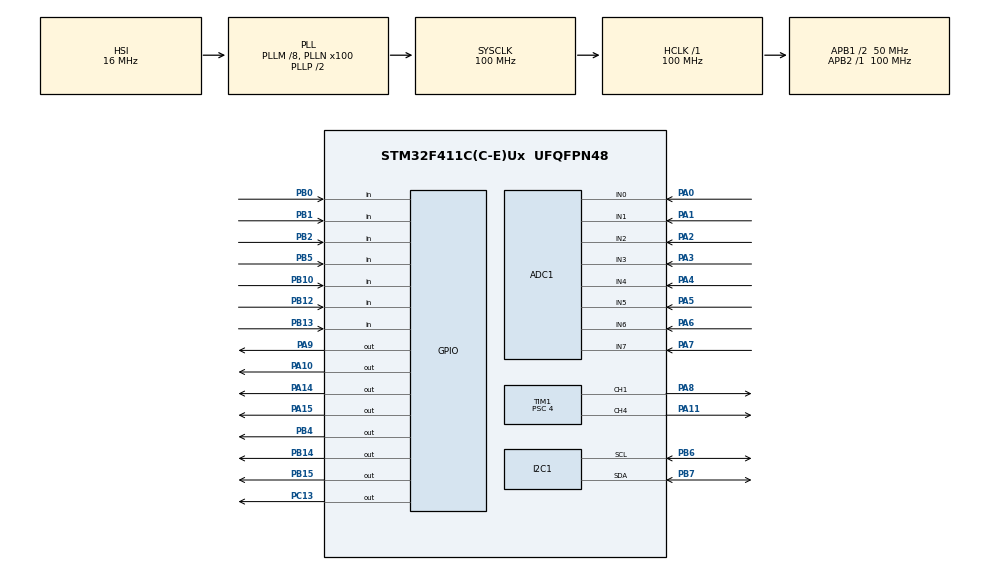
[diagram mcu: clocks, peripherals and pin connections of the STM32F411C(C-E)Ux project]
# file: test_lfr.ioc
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ADC1.Channel-24\#ChannelRegularConversion=ADC_CHANNEL_0
ADC1.Channel-25\#ChannelRegularConversion=ADC_CHANNEL_1
ADC1.Channel-26\#ChannelRegularConversion=ADC_CHANNEL_2
ADC1.Channel-27\#ChannelRegularConversion=ADC_CHANNEL_3
ADC1.Channel-28\#ChannelRegularConversion=ADC_CHANNEL_4
ADC1.Channel-29\#ChannelRegularConversion=ADC_CHANNEL_5
ADC1.Channel-30\#ChannelRegularConversion=ADC_CHANNEL_6
ADC1.Channel-31\#ChannelRegularConversion=ADC_CHANNEL_7
ADC1.Channel-32\#ChannelRegularConversion=ADC_CHANNEL_VBAT
ADC1.ContinuousConvMode=ENABLE
ADC1.DMAContinuousRequests=ENABLE
ADC1.EOCSelection=ADC_EOC_SEQ_CONV
ADC1.NbrOfConversion=9
ADC1.NbrOfConversionFlag=1
ADC1.Rank-24\#ChannelRegularConversion=1
ADC1.Rank-25\#ChannelRegularConversion=2
ADC1.Rank-26\#ChannelRegularConversion=3
ADC1.Rank-27\#ChannelRegularConversion=4
ADC1.Rank-28\#ChannelRegularConversion=5
ADC1.Rank-29\#ChannelRegularConversion=6
ADC1.Rank-30\#ChannelRegularConversion=7
ADC1.Rank-31\#ChannelRegularConversion=8
ADC1.Rank-32\#ChannelRegularConversion=9
ADC1.SamplingTime-24\#ChannelRegularConversion=ADC_SAMPLETIME_3CYCLES
ADC1.SamplingTime-25\#ChannelRegularConversion=ADC_SAMPLETIME_3CYCLES
ADC1.SamplingTime-26\#ChannelRegularConversion=ADC_SAMPLETIME_3CYCLES
ADC1.SamplingTime-27\#ChannelRegularConversion=ADC_SAMPLETIME_3CYCLES
ADC1.SamplingTime-28\#ChannelRegularConversion=ADC_SAMPLETIME_3CYCLES
ADC1.SamplingTime-29\#ChannelRegularConversion=ADC_SAMPLETIME_3CYCLES
ADC1.SamplingTime-30\#ChannelRegularConversion=ADC_SAMPLETIME_3CYCLES
ADC1.SamplingTime-31\#ChannelRegularConversion=ADC_SAMPLETIME_3CYCLES
ADC1.SamplingTime-32\#ChannelRegularConversion=ADC_SAMPLETIME_3CYCLES
ADC1.ScanConvMode=ENABLE
ADC1.master=1
Dma.ADC1.0.Direction=DMA_PERIPH_TO_MEMORY
Dma.ADC1.0.FIFOMode=DMA_FIFOMODE_DISABLE
Dma.ADC1.0.Instance=DMA2_Stream0
Dma.ADC1.0.MemDataAlignment=DMA_MDATAALIGN_HALFWORD
Dma.ADC1.0.MemInc=DMA_MINC_ENABLE
Dma.ADC1.0.Mode=DMA_CIRCULAR
Dma.ADC1.0.PeriphDataAlignment=DMA_PDATAALIGN_HALFWORD
Dma.ADC1.0.PeriphInc=DMA_PINC_DISABLE
Dma.ADC1.0.Priority=DMA_PRIORITY_LOW
Dma.Request0=ADC1
Mcu.Family=STM32F4
Mcu.Name=STM32F411C(C-E)Ux
Mcu.Package=UFQFPN48
NVIC.DMA2_Stream0_IRQn=true\:0\:0\:false\:false\:true\:false\:true\:true
NVIC.PriorityGroup=NVIC_PRIORITYGROUP_4
PA0-WKUP.Signal=SharedAnalog_PA0
PA1.Signal=SharedAnalog_PA1
PA10.Signal=GPIO_Output
PA11.Signal=S_TIM1_CH4
PA14.Signal=GPIO_Output
PA15.Signal=GPIO_Output
PA2.Signal=SharedAnalog_PA2
PA3.Signal=SharedAnalog_PA3
PA4.Signal=SharedAnalog_PA4
PA5.Signal=SharedAnalog_PA5
PA6.Signal=SharedAnalog_PA6
PA7.Signal=SharedAnalog_PA7
PA8.Signal=S_TIM1_CH1
PA9.Signal=GPIO_Output
PB0.Signal=GPIO_Input
PB1.Signal=GPIO_Input
PB10.Signal=GPIO_Input
PB12.Signal=GPIO_Input
PB13.Signal=GPIO_Input
PB14.Signal=GPIO_Output
PB15.Signal=GPIO_Output
PB2.Signal=GPIO_Input
PB4.Signal=GPIO_Output
PB5.Signal=GPIO_Input
PB6.Mode=I2C
PB6.Signal=I2C1_SCL
PB7.Mode=I2C
PB7.Signal=I2C1_SDA
PC13-ANTI_TAMP.Signal=GPIO_Output
ProjectManager.HeapSize=0x200
ProjectManager.StackSize=0x400
ProjectManager.TargetToolchain=STM32CubeIDE
RCC.48MHZClocksFreq_Value=50000000
RCC.AHBFreq_Value=100000000
RCC.APB1CLKDivider=RCC_HCLK_DIV2
RCC.APB1Freq_Value=50000000
RCC.APB1TimFreq_Value=100000000
RCC.APB2Freq_Value=100000000
RCC.APB2TimFreq_Value=100000000
RCC.CortexFreq_Value=100000000
RCC.HCLKFreq_Value=100000000
RCC.HSE_VALUE=25000000
RCC.HSI_VALUE=16000000
RCC.LSE_VALUE=32768
RCC.PLLM=8
RCC.PLLN=100
RCC.SYSCLKFreq_VALUE=100000000
RCC.SYSCLKSource=RCC_SYSCLKSOURCE_PLLCLK
RCC.VCOOutputFreq_Value=200000000
SH.S_TIM1_CH1.0=TIM1_CH1,PWM Generation1 CH1
SH.S_TIM1_CH4.0=TIM1_CH4,PWM Generation4 CH4
SH.SharedAnalog_PA0.0=GPIO_Analog
SH.SharedAnalog_PA0.1=ADC1_IN0,IN0
SH.SharedAnalog_PA1.0=GPIO_Analog
SH.SharedAnalog_PA1.1=ADC1_IN1,IN1
SH.SharedAnalog_PA2.0=GPIO_Analog
SH.SharedAnalog_PA2.1=ADC1_IN2,IN2
SH.SharedAnalog_PA3.0=GPIO_Analog
SH.SharedAnalog_PA3.1=ADC1_IN3,IN3
SH.SharedAnalog_PA4.0=GPIO_Analog
SH.SharedAnalog_PA4.1=ADC1_IN4,IN4
SH.SharedAnalog_PA5.0=GPIO_Analog
SH.SharedAnalog_PA5.1=ADC1_IN5,IN5
SH.SharedAnalog_PA6.0=GPIO_Analog
SH.SharedAnalog_PA6.1=ADC1_IN6,IN6
SH.SharedAnalog_PA7.0=GPIO_Analog
SH.SharedAnalog_PA7.1=ADC1_IN7,IN7
TIM1.Channel-PWM\ Generation1\ CH1=TIM_CHANNEL_1
TIM1.Channel-PWM\ Generation4\ CH4=TIM_CHANNEL_4
TIM1.Period=1000
TIM1.Prescaler=4
VP_ADC1_Vbat_Input.Mode=IN-Vbat
VP_TIM1_VS_ClockSourceINT.Mode=Internal
VP_TIM1_VS_ClockSourceITR.Mode=TriggerSource_ITR0
board=custom

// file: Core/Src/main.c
/* USER CODE BEGIN Header */
/**
  ******************************************************************************
  * @file           : main.c
  * @brief          : Main program body
  ******************************************************************************
  * @attention
  *
  * Copyright (c) 2026 STMicroelectronics.
  * All rights reserved.
  *
  * This software is licensed under terms that can be found in the LICENSE file
  * in the root directory of this software component.
  * If no LICENSE file comes with this software, it is provided AS-IS.
  *
  ******************************************************************************
  */
/* USER CODE END Header */
#include "main.h"

/* USER CODE BEGIN Includes */
#include "mpu6050.h"
#include "math.h"
#include "motor.h"
#include "stm32f411xe.h"
#include "stm32f4xx_hal.h"
#include "stm32f4xx_hal_adc.h"
#include "stm32f4xx_hal_gpio.h"
#include "ssd1306.h"
#include <stdio.h>
#include "ssd1306_fonts.h"
/* USER CODE END Includes */

ADC_HandleTypeDef hadc1;
DMA_HandleTypeDef hdma_adc1;

I2C_HandleTypeDef hi2c1;

TIM_HandleTypeDef htim1;

/* USER CODE BEGIN PV */
volatile uint16_t sensor_val_batt[9];
uint32_t last_display_update = 0;
  float dummy_battery = 7.4f;
  int32_t current_speed = 500;
/* USER CODE END PV */

void SystemClock_Config(void);
static void MX_GPIO_Init(void);
static void MX_DMA_Init(void);
static void MX_ADC1_Init(void);
static void MX_I2C1_Init(void);
static void MX_TIM1_Init(void);

  void test_sensor(void );
int main(void)
{

  /* MCU Configuration--------------------------------------------------------*/

  /* Reset of all peripherals, Initializes the Flash interface and the Systick. */
  HAL_Init();

  /* Configure the system clock */
  SystemClock_Config();

  /* Initialize all configured peripherals */
  MX_GPIO_Init();
  MX_DMA_Init();
  MX_ADC1_Init();
  MX_I2C1_Init();
  MX_TIM1_Init();
  /* USER CODE BEGIN 2 */
  HAL_GPIO_WritePin(GPIOA, GPIO_PIN_15, GPIO_PIN_RESET);
  HAL_GPIO_WritePin(GPIOB, GPIO_PIN_4, GPIO_PIN_RESET);
  motor_pin_set(&htim1);
  MPU6050_Init();
  ssd1306_Init();
  HAL_ADC_Start_DMA(&hadc1, (void *)sensor_val_batt, 9);
  /* USER CODE END 2 */

  /* Infinite loop */
  /* USER CODE BEGIN WHILE */
  while (1)
  {
   test_sensor();
    /* USER CODE END WHILE */

  }
}

void test_sensor(void ){
  char buf[32]; // Buffer to hold our formatted text
  char wing_buf[32]; // Buffer for the 6 wing sensors

      // 1. Wipe the previous frame
      ssd1306_Fill(Black);

      // 2. Draw a Header
      ssd1306_SetCursor(2, 2);
      ssd1306_WriteString("SENSOR DEBUG", Font_7x10, White);
      ssd1306_Line(0, 13, 128, 13, White); // Underline

      // 3. Draw Left Sensors (S1 to S4)
      for(int i = 0; i < 4; i++) {
          ssd1306_SetCursor(2, 17 + (i * 9)); // Tightened spacing to 9 pixels apart

          // %d is the sensor number, %4d forces the value to take up exactly 4 spaces
          // so the text doesn't jitter left and right when numbers change size
          sprintf(buf, "S%d: %4d", i + 1, sensor_val_batt[i]);
          ssd1306_WriteString(buf, Font_6x8, White);
      }

      // 4. Draw Right Sensors (S5 to S8)
      for(int i = 4; i < 8; i++) {
          // X cursor is at 66 to put these on the right half of the screen
          ssd1306_SetCursor(66, 17 + ((i - 4) * 9)); // Tightened spacing to 9 pixels apart

          sprintf(buf, "S%d: %4d", i + 1, sensor_val_batt[i]);
          ssd1306_WriteString(buf, Font_6x8, White);
      }

      // 5. Read Wing Sensors (Digital Pins)
      // Left Wing: PB2, PB1, PB0
      uint8_t L3 = HAL_GPIO_ReadPin(GPIOB, GPIO_PIN_2);
      uint8_t L2 = HAL_GPIO_ReadPin(GPIOB, GPIO_PIN_1);
      uint8_t L1 = HAL_GPIO_ReadPin(GPIOB, GPIO_PIN_0);

      // Right Wing: PB10, PB12, PB13
      uint8_t R1 = HAL_GPIO_ReadPin(GPIOB, GPIO_PIN_10);
      uint8_t R2 = HAL_GPIO_ReadPin(GPIOB, GPIO_PIN_12);
      uint8_t R3 = HAL_GPIO_ReadPin(GPIOB, GPIO_PIN_13);

      // Format as "WNG L:111 R:111"
      sprintf(wing_buf, "WNG L:%d%d%d R:%d%d%d", L3, L2, L1, R1, R2, R3);

      // 6. Draw Wing Sensors at the bottom of the screen
      ssd1306_SetCursor(2, 54); // Y=54 places this perfectly on the bottom edge
      ssd1306_WriteString(wing_buf, Font_6x8, White);

      // 7. Push the graphics to the screen
      ssd1306_UpdateScreen();

      HAL_Delay(100);
    }
void SystemClock_Config(void)
{
  RCC_OscInitTypeDef RCC_OscInitStruct = {0};
  RCC_ClkInitTypeDef RCC_ClkInitStruct = {0};

  /** Configure the main internal regulator output voltage
  */
  __HAL_RCC_PWR_CLK_ENABLE();
  __HAL_PWR_VOLTAGESCALING_CONFIG(PWR_REGULATOR_VOLTAGE_SCALE1);

  /** Initializes the RCC Oscillators according to the specified parameters
  * in the RCC_OscInitTypeDef structure.
  */
  RCC_OscInitStruct.OscillatorType = RCC_OSCILLATORTYPE_HSI;
  RCC_OscInitStruct.HSIState = RCC_HSI_ON;
  RCC_OscInitStruct.HSICalibrationValue = RCC_HSICALIBRATION_DEFAULT;
  RCC_OscInitStruct.PLL.PLLState = RCC_PLL_ON;
  RCC_OscInitStruct.PLL.PLLSource = RCC_PLLSOURCE_HSI;
  RCC_OscInitStruct.PLL.PLLM = 8;
  RCC_OscInitStruct.PLL.PLLN = 100;
  RCC_OscInitStruct.PLL.PLLP = RCC_PLLP_DIV2;
  RCC_OscInitStruct.PLL.PLLQ = 4;
  if (HAL_RCC_OscConfig(&RCC_OscInitStruct) != HAL_OK)
  {
    Error_Handler();
  }

  /** Initializes the CPU, AHB and APB buses clocks
  */
  RCC_ClkInitStruct.ClockType = RCC_CLOCKTYPE_HCLK|RCC_CLOCKTYPE_SYSCLK
                              |RCC_CLOCKTYPE_PCLK1|RCC_CLOCKTYPE_PCLK2;
  RCC_ClkInitStruct.SYSCLKSource = RCC_SYSCLKSOURCE_PLLCLK;
  RCC_ClkInitStruct.AHBCLKDivider = RCC_SYSCLK_DIV1;
  RCC_ClkInitStruct.APB1CLKDivider = RCC_HCLK_DIV2;
  RCC_ClkInitStruct.APB2CLKDivider = RCC_HCLK_DIV1;

  if (HAL_RCC_ClockConfig(&RCC_ClkInitStruct, FLASH_LATENCY_3) != HAL_OK)
  {
    Error_Handler();
  }
}

static void MX_ADC1_Init(void)
{

  ADC_ChannelConfTypeDef sConfig = {0};

  /** Configure the global features of the ADC (Clock, Resolution, Data Alignment and number of conversion)
  */
  hadc1.Instance = ADC1;
  hadc1.Init.ClockPrescaler = ADC_CLOCK_SYNC_PCLK_DIV4;
  hadc1.Init.Resolution = ADC_RESOLUTION_12B;
  hadc1.Init.ScanConvMode = ENABLE;
  hadc1.Init.ContinuousConvMode = ENABLE;
  hadc1.Init.DiscontinuousConvMode = DISABLE;
  hadc1.Init.ExternalTrigConvEdge = ADC_EXTERNALTRIGCONVEDGE_NONE;
  hadc1.Init.ExternalTrigConv = ADC_SOFTWARE_START;
  hadc1.Init.DataAlign = ADC_DATAALIGN_RIGHT;
  hadc1.Init.NbrOfConversion = 9;
  hadc1.Init.DMAContinuousRequests = ENABLE;
  hadc1.Init.EOCSelection = ADC_EOC_SEQ_CONV;
  if (HAL_ADC_Init(&hadc1) != HAL_OK)
  {
    Error_Handler();
  }

  /** Configure for the selected ADC regular channel its corresponding rank in the sequencer and its sample time.
  */
  sConfig.Channel = ADC_CHANNEL_0;
  sConfig.Rank = 1;
  sConfig.SamplingTime = ADC_SAMPLETIME_3CYCLES;
  if (HAL_ADC_ConfigChannel(&hadc1, &sConfig) != HAL_OK)
  {
    Error_Handler();
  }

  /** Configure for the selected ADC regular channel its corresponding rank in the sequencer and its sample time.
  */
  sConfig.Channel = ADC_CHANNEL_1;
  sConfig.Rank = 2;
  if (HAL_ADC_ConfigChannel(&hadc1, &sConfig) != HAL_OK)
  {
    Error_Handler();
  }

  /** Configure for the selected ADC regular channel its corresponding rank in the sequencer and its sample time.
  */
  sConfig.Channel = ADC_CHANNEL_2;
  sConfig.Rank = 3;
  if (HAL_ADC_ConfigChannel(&hadc1, &sConfig) != HAL_OK)
  {
    Error_Handler();
  }

  /** Configure for the selected ADC regular channel its corresponding rank in the sequencer and its sample time.
  */
  sConfig.Channel = ADC_CHANNEL_3;
  sConfig.Rank = 4;
  if (HAL_ADC_ConfigChannel(&hadc1, &sConfig) != HAL_OK)
  {
    Error_Handler();
  }

  /** Configure for the selected ADC regular channel its corresponding rank in the sequencer and its sample time.
  */
  sConfig.Channel = ADC_CHANNEL_4;
  sConfig.Rank = 5;
  if (HAL_ADC_ConfigChannel(&hadc1, &sConfig) != HAL_OK)
  {
    Error_Handler();
  }

  /** Configure for the selected ADC regular channel its corresponding rank in the sequencer and its sample time.
  */
  sConfig.Channel = ADC_CHANNEL_5;
  sConfig.Rank = 6;
  if (HAL_ADC_ConfigChannel(&hadc1, &sConfig) != HAL_OK)
  {
    Error_Handler();
  }

  /** Configure for the selected ADC regular channel its corresponding rank in the sequencer and its sample time.
  */
  sConfig.Channel = ADC_CHANNEL_6;
  sConfig.Rank = 7;
  if (HAL_ADC_ConfigChannel(&hadc1, &sConfig) != HAL_OK)
  {
    Error_Handler();
  }

  /** Configure for the selected ADC regular channel its corresponding rank in the sequencer and its sample time.
  */
  sConfig.Channel = ADC_CHANNEL_7;
  sConfig.Rank = 8;
  if (HAL_ADC_ConfigChannel(&hadc1, &sConfig) != HAL_OK)
  {
    Error_Handler();
  }

  /** Configure for the selected ADC regular channel its corresponding rank in the sequencer and its sample time.
  */
  sConfig.Channel = ADC_CHANNEL_VBAT;
  sConfig.Rank = 9;
  if (HAL_ADC_ConfigChannel(&hadc1, &sConfig) != HAL_OK)
  {
    Error_Handler();
  }

}

static void MX_I2C1_Init(void)
{

  hi2c1.Instance = I2C1;
  hi2c1.Init.ClockSpeed = 100000;
  hi2c1.Init.DutyCycle = I2C_DUTYCYCLE_2;
  hi2c1.Init.OwnAddress1 = 0;
  hi2c1.Init.AddressingMode = I2C_ADDRESSINGMODE_7BIT;
  hi2c1.Init.DualAddressMode = I2C_DUALADDRESS_DISABLE;
  hi2c1.Init.OwnAddress2 = 0;
  hi2c1.Init.GeneralCallMode = I2C_GENERALCALL_DISABLE;
  hi2c1.Init.NoStretchMode = I2C_NOSTRETCH_DISABLE;
  if (HAL_I2C_Init(&hi2c1) != HAL_OK)
  {
    Error_Handler();
  }

}

static void MX_TIM1_Init(void)
{

  TIM_ClockConfigTypeDef sClockSourceConfig = {0};
  TIM_SlaveConfigTypeDef sSlaveConfig = {0};
  TIM_MasterConfigTypeDef sMasterConfig = {0};
  TIM_OC_InitTypeDef sConfigOC = {0};
  TIM_BreakDeadTimeConfigTypeDef sBreakDeadTimeConfig = {0};

  htim1.Instance = TIM1;
  htim1.Init.Prescaler = 4;
  htim1.Init.CounterMode = TIM_COUNTERMODE_UP;
  htim1.Init.Period = 1000;
  htim1.Init.ClockDivision = TIM_CLOCKDIVISION_DIV1;
  htim1.Init.RepetitionCounter = 0;
  htim1.Init.AutoReloadPreload = TIM_AUTORELOAD_PRELOAD_DISABLE;
  if (HAL_TIM_Base_Init(&htim1) != HAL_OK)
  {
    Error_Handler();
  }
  sClockSourceConfig.ClockSource = TIM_CLOCKSOURCE_INTERNAL;
  if (HAL_TIM_ConfigClockSource(&htim1, &sClockSourceConfig) != HAL_OK)
  {
    Error_Handler();
  }
  if (HAL_TIM_PWM_Init(&htim1) != HAL_OK)
  {
    Error_Handler();
  }
  sSlaveConfig.SlaveMode = TIM_SLAVEMODE_DISABLE;
  sSlaveConfig.InputTrigger = TIM_TS_ITR0;
  if (HAL_TIM_SlaveConfigSynchro(&htim1, &sSlaveConfig) != HAL_OK)
  {
    Error_Handler();
  }
  sMasterConfig.MasterOutputTrigger = TIM_TRGO_RESET;
  sMasterConfig.MasterSlaveMode = TIM_MASTERSLAVEMODE_DISABLE;
  if (HAL_TIMEx_MasterConfigSynchronization(&htim1, &sMasterConfig) != HAL_OK)
  {
    Error_Handler();
  }
  sConfigOC.OCMode = TIM_OCMODE_PWM1;
  sConfigOC.Pulse = 0;
  sConfigOC.OCPolarity = TIM_OCPOLARITY_HIGH;
  sConfigOC.OCNPolarity = TIM_OCNPOLARITY_HIGH;
  sConfigOC.OCFastMode = TIM_OCFAST_DISABLE;
  sConfigOC.OCIdleState = TIM_OCIDLESTATE_RESET;
  sConfigOC.OCNIdleState = TIM_OCNIDLESTATE_RESET;
  if (HAL_TIM_PWM_ConfigChannel(&htim1, &sConfigOC, TIM_CHANNEL_1) != HAL_OK)
  {
    Error_Handler();
  }
  if (HAL_TIM_PWM_ConfigChannel(&htim1, &sConfigOC, TIM_CHANNEL_4) != HAL_OK)
  {
    Error_Handler();
  }
  sBreakDeadTimeConfig.OffStateRunMode = TIM_OSSR_DISABLE;
  sBreakDeadTimeConfig.OffStateIDLEMode = TIM_OSSI_DISABLE;
  sBreakDeadTimeConfig.LockLevel = TIM_LOCKLEVEL_OFF;
  sBreakDeadTimeConfig.DeadTime = 0;
  sBreakDeadTimeConfig.BreakState = TIM_BREAK_DISABLE;
  sBreakDeadTimeConfig.BreakPolarity = TIM_BREAKPOLARITY_HIGH;
  sBreakDeadTimeConfig.AutomaticOutput = TIM_AUTOMATICOUTPUT_DISABLE;
  if (HAL_TIMEx_ConfigBreakDeadTime(&htim1, &sBreakDeadTimeConfig) != HAL_OK)
  {
    Error_Handler();
  }
  HAL_TIM_MspPostInit(&htim1);

}

static void MX_DMA_Init(void)
{

  /* DMA controller clock enable */
  __HAL_RCC_DMA2_CLK_ENABLE();

  /* DMA interrupt init */
  /* DMA2_Stream0_IRQn interrupt configuration */
  HAL_NVIC_SetPriority(DMA2_Stream0_IRQn, 0, 0);
  HAL_NVIC_EnableIRQ(DMA2_Stream0_IRQn);

}

static void MX_GPIO_Init(void)
{
  GPIO_InitTypeDef GPIO_InitStruct = {0};

  /* GPIO Ports Clock Enable */
  __HAL_RCC_GPIOC_CLK_ENABLE();
  __HAL_RCC_GPIOA_CLK_ENABLE();
  __HAL_RCC_GPIOB_CLK_ENABLE();

  /*Configure GPIO pin Output Level */
  HAL_GPIO_WritePin(GPIOC, GPIO_PIN_13, GPIO_PIN_RESET);

  /*Configure GPIO pin Output Level */
  HAL_GPIO_WritePin(GPIOB, GPIO_PIN_14|GPIO_PIN_15|GPIO_PIN_4, GPIO_PIN_RESET);

  /*Configure GPIO pin Output Level */
  HAL_GPIO_WritePin(GPIOA, GPIO_PIN_9|GPIO_PIN_10|GPIO_PIN_14|GPIO_PIN_15, GPIO_PIN_RESET);

  /*Configure GPIO pin : PC13 */
  GPIO_InitStruct.Pin = GPIO_PIN_13;
  GPIO_InitStruct.Mode = GPIO_MODE_OUTPUT_PP;
  GPIO_InitStruct.Pull = GPIO_NOPULL;
  GPIO_InitStruct.Speed = GPIO_SPEED_FREQ_LOW;
  HAL_GPIO_Init(GPIOC, &GPIO_InitStruct);

  /*Configure GPIO pins : PB0 PB1 PB2 PB10
                           PB12 PB13 PB5 */
  GPIO_InitStruct.Pin = GPIO_PIN_0|GPIO_PIN_1|GPIO_PIN_2|GPIO_PIN_10
                          |GPIO_PIN_12|GPIO_PIN_13|GPIO_PIN_5;
  GPIO_InitStruct.Mode = GPIO_MODE_INPUT;
  GPIO_InitStruct.Pull = GPIO_NOPULL;
  HAL_GPIO_Init(GPIOB, &GPIO_InitStruct);

  /*Configure GPIO pins : PB14 PB15 PB4 */
  GPIO_InitStruct.Pin = GPIO_PIN_14|GPIO_PIN_15|GPIO_PIN_4;
  GPIO_InitStruct.Mode = GPIO_MODE_OUTPUT_PP;
  GPIO_InitStruct.Pull = GPIO_NOPULL;
  GPIO_InitStruct.Speed = GPIO_SPEED_FREQ_LOW;
  HAL_GPIO_Init(GPIOB, &GPIO_InitStruct);

  /*Configure GPIO pins : PA9 PA10 PA14 PA15 */
  GPIO_InitStruct.Pin = GPIO_PIN_9|GPIO_PIN_10|GPIO_PIN_14|GPIO_PIN_15;
  GPIO_InitStruct.Mode = GPIO_MODE_OUTPUT_PP;
  GPIO_InitStruct.Pull = GPIO_NOPULL;
  GPIO_InitStruct.Speed = GPIO_SPEED_FREQ_LOW;
  HAL_GPIO_Init(GPIOA, &GPIO_InitStruct);

}

/* USER CODE BEGIN 4 */
void update_display(int32_t speed, float battery_volts) {
    char buffer[32];

    // 1. Clear the screen buffer
    ssd1306_Fill(Black);

    // 2. Format and Print Speed
    ssd1306_SetCursor(2, 5);
    sprintf(buffer, "Speed: %ld", speed);
    ssd1306_WriteString(buffer, Font_7x10, White);

    // 3. Format and Print Battery Voltage
    ssd1306_SetCursor(2, 20);
    sprintf(buffer, "Bat: %.1f V", battery_volts);
    ssd1306_WriteString(buffer, Font_7x10, White);

    // 4. Print System Status
    ssd1306_SetCursor(2, 45);
    ssd1306_WriteString("SYS: ONLINE", Font_7x10, White);

    // 5. Push the buffer to the physical OLED
    ssd1306_UpdateScreen();
}

/* USER CODE END 4 */

void Error_Handler(void)
{
  __disable_irq();
  while (1)
  {
  }
}
